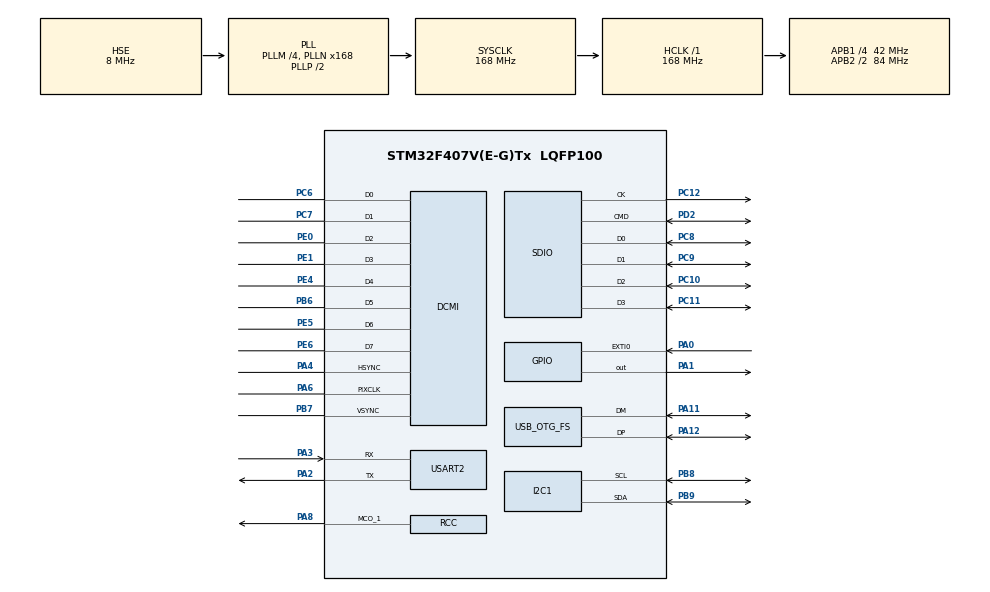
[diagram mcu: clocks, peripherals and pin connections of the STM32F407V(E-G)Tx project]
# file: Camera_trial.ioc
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DCMI.HSPolarity=DCMI_HSPOLARITY_LOW
DCMI.PCKPolarity=DCMI_PCKPOLARITY_RISING
DCMI.VSPolarity=DCMI_VSPOLARITY_HIGH
Dma.DCMI.0.Direction=DMA_PERIPH_TO_MEMORY
Dma.DCMI.0.FIFOMode=DMA_FIFOMODE_ENABLE
Dma.DCMI.0.FIFOThreshold=DMA_FIFO_THRESHOLD_FULL
Dma.DCMI.0.Instance=DMA2_Stream1
Dma.DCMI.0.MemBurst=DMA_MBURST_SINGLE
Dma.DCMI.0.MemDataAlignment=DMA_MDATAALIGN_WORD
Dma.DCMI.0.MemInc=DMA_MINC_ENABLE
Dma.DCMI.0.Mode=DMA_CIRCULAR
Dma.DCMI.0.PeriphBurst=DMA_PBURST_SINGLE
Dma.DCMI.0.PeriphDataAlignment=DMA_PDATAALIGN_WORD
Dma.DCMI.0.PeriphInc=DMA_PINC_DISABLE
Dma.DCMI.0.Priority=DMA_PRIORITY_VERY_HIGH
Dma.Request0=DCMI
Dma.Request1=SDIO_RX
Dma.Request2=SDIO_TX
Dma.SDIO_RX.1.Direction=DMA_PERIPH_TO_MEMORY
Dma.SDIO_RX.1.FIFOMode=DMA_FIFOMODE_ENABLE
Dma.SDIO_RX.1.FIFOThreshold=DMA_FIFO_THRESHOLD_FULL
Dma.SDIO_RX.1.Instance=DMA2_Stream3
Dma.SDIO_RX.1.MemBurst=DMA_MBURST_INC4
Dma.SDIO_RX.1.MemDataAlignment=DMA_MDATAALIGN_WORD
Dma.SDIO_RX.1.MemInc=DMA_MINC_ENABLE
Dma.SDIO_RX.1.Mode=DMA_PFCTRL
Dma.SDIO_RX.1.PeriphBurst=DMA_PBURST_INC4
Dma.SDIO_RX.1.PeriphDataAlignment=DMA_PDATAALIGN_WORD
Dma.SDIO_RX.1.PeriphInc=DMA_PINC_DISABLE
Dma.SDIO_RX.1.Priority=DMA_PRIORITY_VERY_HIGH
Dma.SDIO_TX.2.Direction=DMA_MEMORY_TO_PERIPH
Dma.SDIO_TX.2.FIFOMode=DMA_FIFOMODE_ENABLE
Dma.SDIO_TX.2.FIFOThreshold=DMA_FIFO_THRESHOLD_FULL
Dma.SDIO_TX.2.Instance=DMA2_Stream6
Dma.SDIO_TX.2.MemBurst=DMA_MBURST_INC4
Dma.SDIO_TX.2.MemDataAlignment=DMA_MDATAALIGN_WORD
Dma.SDIO_TX.2.MemInc=DMA_MINC_ENABLE
Dma.SDIO_TX.2.Mode=DMA_PFCTRL
Dma.SDIO_TX.2.PeriphBurst=DMA_PBURST_INC4
Dma.SDIO_TX.2.PeriphDataAlignment=DMA_PDATAALIGN_WORD
Dma.SDIO_TX.2.PeriphInc=DMA_PINC_DISABLE
Dma.SDIO_TX.2.Priority=DMA_PRIORITY_VERY_HIGH
FATFS._USE_CHMOD=1
FATFS._USE_EXPAND=1
FATFS._USE_FIND=1
FATFS._USE_FORWARD=1
FATFS._USE_LABEL=1
FREERTOS.INCLUDE_eTaskGetState=0
FREERTOS.INCLUDE_xEventGroupSetBitFromISR=1
FREERTOS.INCLUDE_xQueueGetMutexHolder=1
FREERTOS.INCLUDE_xSemaphoreGetMutexHolder=1
FREERTOS.INCLUDE_xTaskGetCurrentTaskHandle=1
FREERTOS.INCLUDE_xTimerPendFunctionCall=1
FREERTOS.Tasks01=defaultTask,0,128,StartDefaultTask,Default,NULL,Dynamic,NULL,NULL
FREERTOS.configENABLE_FPU=1
FREERTOS.configUSE_RECURSIVE_MUTEXES=1
FREERTOS.configUSE_TIMERS=1
Mcu.Family=STM32F4
Mcu.Name=STM32F407V(E-G)Tx
Mcu.Package=LQFP100
NVIC.DCMI_IRQn=true\:5\:0\:false\:false\:true\:true\:true\:true\:true
NVIC.DMA2_Stream1_IRQn=true\:5\:0\:false\:false\:true\:false\:false\:true\:true
NVIC.DMA2_Stream3_IRQn=true\:5\:0\:false\:false\:true\:true\:false\:true\:true
NVIC.DMA2_Stream6_IRQn=true\:5\:0\:false\:false\:true\:true\:false\:true\:true
NVIC.OTG_FS_IRQn=true\:5\:0\:false\:false\:true\:true\:false\:true\:true
NVIC.PriorityGroup=NVIC_PRIORITYGROUP_4
NVIC.SDIO_IRQn=true\:5\:0\:false\:false\:true\:true\:true\:true\:true
PA0-WKUP.Signal=GPXTI0
PA1.GPIO_ModeDefaultOutputPP=GPIO_MODE_OUTPUT_PP
PA1.GPIO_PuPd=GPIO_PULLDOWN
PA1.PinState=GPIO_PIN_RESET
PA1.Signal=GPIO_Output
PA11.Mode=Device_Only
PA11.Signal=USB_OTG_FS_DM
PA12.Mode=Device_Only
PA12.Signal=USB_OTG_FS_DP
PA2.Mode=Asynchronous
PA2.Signal=USART2_TX
PA3.Mode=Asynchronous
PA3.Signal=USART2_RX
PA4.GPIO_PuPd=GPIO_PULLUP
PA4.GPIO_Speed=GPIO_SPEED_FREQ_VERY_HIGH
PA4.Mode=Slave_8_bits_External_Synchro
PA4.Signal=DCMI_HSYNC
PA6.GPIO_PuPd=GPIO_PULLDOWN
PA6.GPIO_Speed=GPIO_SPEED_FREQ_VERY_HIGH
PA6.Mode=Slave_8_bits_External_Synchro
PA6.Signal=DCMI_PIXCLK
PA8.Mode=Clock-out-1
PA8.Signal=RCC_MCO_1
PB6.GPIO_PuPd=GPIO_PULLUP
PB6.GPIO_Speed=GPIO_SPEED_FREQ_VERY_HIGH
PB6.Mode=Slave_8_bits_External_Synchro
PB6.Signal=DCMI_D5
PB7.GPIO_PuPd=GPIO_PULLDOWN
PB7.GPIO_Speed=GPIO_SPEED_FREQ_VERY_HIGH
PB7.Mode=Slave_8_bits_External_Synchro
PB7.Signal=DCMI_VSYNC
PB8.GPIO_Pu=GPIO_PULLUP
PB8.Mode=I2C
PB8.Signal=I2C1_SCL
PB9.GPIO_Pu=GPIO_PULLUP
PB9.Mode=I2C
PB9.Signal=I2C1_SDA
PC10.GPIO_PuPd=GPIO_PULLUP
PC10.Mode=SD_4_bits_Wide_bus
PC10.Signal=SDIO_D2
PC11.GPIO_PuPd=GPIO_PULLUP
PC11.Mode=SD_4_bits_Wide_bus
PC11.Signal=SDIO_D3
PC12.Mode=SD_4_bits_Wide_bus
PC12.Signal=SDIO_CK
PC6.GPIO_PuPd=GPIO_PULLDOWN
PC6.GPIO_Speed=GPIO_SPEED_FREQ_VERY_HIGH
PC6.Mode=Slave_8_bits_External_Synchro
PC6.Signal=DCMI_D0
PC7.GPIO_PuPd=GPIO_PULLDOWN
PC7.GPIO_Speed=GPIO_SPEED_FREQ_VERY_HIGH
PC7.Mode=Slave_8_bits_External_Synchro
PC7.Signal=DCMI_D1
PC8.GPIO_PuPd=GPIO_PULLUP
PC8.Mode=SD_4_bits_Wide_bus
PC8.Signal=SDIO_D0
PC9.GPIO_PuPd=GPIO_PULLUP
PC9.Mode=SD_4_bits_Wide_bus
PC9.Signal=SDIO_D1
PD2.GPIO_PuPd=GPIO_PULLUP
PD2.Mode=SD_4_bits_Wide_bus
PD2.Signal=SDIO_CMD
PE0.GPIO_PuPd=GPIO_PULLDOWN
PE0.GPIO_Speed=GPIO_SPEED_FREQ_VERY_HIGH
PE0.Mode=Slave_8_bits_External_Synchro
PE0.Signal=DCMI_D2
PE1.GPIO_PuPd=GPIO_PULLDOWN
PE1.GPIO_Speed=GPIO_SPEED_FREQ_VERY_HIGH
PE1.Mode=Slave_8_bits_External_Synchro
PE1.Signal=DCMI_D3
PE4.GPIO_PuPd=GPIO_PULLDOWN
PE4.GPIO_Speed=GPIO_SPEED_FREQ_VERY_HIGH
PE4.Mode=Slave_8_bits_External_Synchro
PE4.Signal=DCMI_D4
PE5.GPIO_PuPd=GPIO_PULLDOWN
PE5.GPIO_Speed=GPIO_SPEED_FREQ_VERY_HIGH
PE5.Mode=Slave_8_bits_External_Synchro
PE5.Signal=DCMI_D6
PE6.GPIO_PuPd=GPIO_PULLDOWN
PE6.GPIO_Speed=GPIO_SPEED_FREQ_VERY_HIGH
PE6.Mode=Slave_8_bits_External_Synchro
PE6.Signal=DCMI_D7
PH0-OSC_IN.Mode=HSE-External-Oscillator
PH0-OSC_IN.Signal=RCC_OSC_IN
PH1-OSC_OUT.Mode=HSE-External-Oscillator
PH1-OSC_OUT.Signal=RCC_OSC_OUT
ProjectManager.HeapSize=0x200
ProjectManager.StackSize=0x400
ProjectManager.TargetToolchain=STM32CubeIDE
RCC.48MHZClocksFreq_Value=48000000
RCC.AHBFreq_Value=168000000
RCC.APB1CLKDivider=RCC_HCLK_DIV4
RCC.APB1Freq_Value=42000000
RCC.APB1TimFreq_Value=84000000
RCC.APB2CLKDivider=RCC_HCLK_DIV2
RCC.APB2Freq_Value=84000000
RCC.APB2TimFreq_Value=168000000
RCC.CortexFreq_Value=168000000
RCC.EnbaleCSS=true
RCC.HCLKFreq_Value=168000000
RCC.HSE_VALUE=8000000
RCC.HSI_VALUE=16000000
RCC.LSE_VALUE=32768
RCC.PLLM=4
RCC.PLLN=168
RCC.PLLQ=7
RCC.RCC_MCODiv2=RCC_MCODIV_4
RCC.SYSCLKFreq_VALUE=168000000
RCC.SYSCLKSource=RCC_SYSCLKSOURCE_PLLCLK
RCC.VCOOutputFreq_Value=336000000
USART2.VirtualMode=VM_ASYNC
USB_DEVICE.CLASS_NAME_FS=CDC
USB_DEVICE.VirtualMode-CDC_FS=Cdc
USB_DEVICE.VirtualModeFS=Cdc_FS
USB_OTG_FS.VirtualMode=Device_Only
VP_FATFS_VS_SDIO.Mode=SDIO
VP_FREERTOS_VS_CMSIS_V1.Mode=CMSIS_V1
VP_USB_DEVICE_VS_USB_DEVICE_CDC_FS.Mode=CDC_FS
board=custom

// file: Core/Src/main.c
/* USER CODE BEGIN Header */
/**
  ******************************************************************************
  * @file           : main.c
  * @brief          : Main program body
  ******************************************************************************
  * @attention
  *
  * Copyright (c) 2025 STMicroelectronics.
  * All rights reserved.
  *
  * This software is licensed under terms that can be found in the LICENSE file
  * in the root directory of this software component.
  * If no LICENSE file comes with this software, it is provided AS-IS.
  *
  ******************************************************************************
  */
/* USER CODE END Header */
#include "main.h"
#include "cmsis_os.h"
#include "fatfs.h"
#include "usb_device.h"

/* USER CODE BEGIN Includes */
#include <stdio.h> //  <-- ADDED FOR UART LOGGING
#include "stm32f4xx_hal_dma.h"

//#include "sd_diskio.h"
/* USER CODE END Includes */

/* USER CODE BEGIN PTD */
// -------- ADDED FOR UART LOGGING -------- //

// ----------------------------------------- //
/* USER CODE END PTD */

/* USER CODE BEGIN PD */

TaskHandle_t xFrameTaskHandle;
TaskHandle_t xUSBCommandTaskHandle;
TaskHandle_t hUsbStreamTask = NULL;
EventGroupHandle_t appEventGroup;
QueueHandle_t xFrameChunkQueue;
QueueHandle_t xUSBCommandQueue;
SemaphoreHandle_t xI2CSemaphore;
osMessageQId SDQueueID;
SemaphoreHandle_t sdCardMutex;

/* USER CODE END PD */

DCMI_HandleTypeDef hdcmi;
DMA_HandleTypeDef hdma_dcmi;

I2C_HandleTypeDef hi2c1;

SD_HandleTypeDef hsd;
DMA_HandleTypeDef hdma_sdio_rx;
DMA_HandleTypeDef hdma_sdio_tx;

UART_HandleTypeDef huart2;

osThreadId defaultTaskHandle;

void SystemClock_Config(void);
static void MX_GPIO_Init(void);
static void MX_DMA_Init(void);
static void MX_DCMI_Init(void);
static void MX_I2C1_Init(void);
static void MX_USART2_UART_Init(void);
static void MX_SDIO_SD_Init(void);
void StartDefaultTask(void const * argument);

/* USER CODE BEGIN PFP */
void MeM_to_SD(void *pvParameters);
void FrameProcessingTask(void *pvParameters);
bool OV7670_init(void);
void My_DMA_HalfTransfer_Callback(void);
void My_DMA_FullTransfer_Callback(void);
void USBStreamFromSDTask(void *argument);
/* USER CODE END PFP */

/* USER CODE BEGIN 0 */

void FrameProcessTask(void *parameters)
{
    uint32_t ulNotificationValue;
    const uint16_t chunk_size = 64; // USB FS MPS
    uint32_t ptr = 0;
    for (;;)
    {
        // Wait for notification (blocks indefinitely)
        xTaskNotifyWait(0x00,    // Don't clear any bits on entry
                        0xFFFFFFFF, // Clear all bits on exit
                        &ulNotificationValue,
                        portMAX_DELAY);

        if (ulNotificationValue & 0x01)
        {
            // Half-frame ready

        	//printf("Half-frame ready\r\n");
        	//printf("DCMI DMA NDTR: %lu\r\n", (uint32_t)(hdma_dcmi.Instance->NDTR));
            // Process &frame_buffer[0]
        }
        else if (ulNotificationValue & 0x02)
        {
            // Full-frame ready
        	//printf("DCMI DMA NDTR: %lu\r\n", (uint32_t)(hdma_dcmi.Instance->NDTR));
            //printf("Full-frame ready\r\n");
        	//USBFrameSendTask();
            // Process &frame_buffer[IMG_SIZE/2]
        }
    }
}
void DWT_Init(void)
{
    // Enable the trace system (needed for DWT)
    CoreDebug->DEMCR |= CoreDebug_DEMCR_TRCENA_Msk;

    // Reset the cycle counter
    DWT->CYCCNT = 0;

    // Enable the cycle counter
    DWT->CTRL |= DWT_CTRL_CYCCNTENA_Msk;
}

// Make the RTOS queue handle visible to your task file.
// The type is likely osMessageQueueId_t if generated by CubeMX with CMSIS v2.

// It's safer to declare large buffers as static to prevent stack overflow.

/* USER CODE END 0 */

int main(void)
{

  /* MCU Configuration--------------------------------------------------------*/

  /* Reset of all peripherals, Initializes the Flash interface and the Systick. */
  HAL_Init();

  /* USER CODE BEGIN Init */
  DWT_Init();
  /* USER CODE END Init */

  /* Configure the system clock */
  SystemClock_Config();

  /* Initialize all configured peripherals */
  MX_GPIO_Init();
  MX_DMA_Init();
  MX_DCMI_Init();
  MX_I2C1_Init();
  MX_USART2_UART_Init();
  MX_SDIO_SD_Init();
  MX_FATFS_Init();
  /* USER CODE BEGIN 2 */
  MX_USB_DEVICE_Init();

  /*printf("\n\n\n\n--------\nStarting\r\n");

  printf("SD Card Information:\r\n");
  printf("Block size  : %lu\r\n", hsd.SdCard.BlockSize);
  printf("Block nmbr  : %lu\r\n", hsd.SdCard.BlockNbr);
  printf("Card size   : %lu\r\n", (hsd.SdCard.BlockSize * hsd.SdCard.BlockNbr) / 1000);
  printf("Card version: %lu\r\n", hsd.SdCard.CardVersion);

  printf("\r\n--- UART Test Only ---\r\n");
  printf("Clock, GPIO, and UART Initialized.\r\n");

*/
  appEventGroup = xEventGroupCreate();
  xFrameChunkQueue = xQueueCreate( (490), sizeof(DCMI_Message_t) );
  sdCardMutex = xSemaphoreCreateMutex();
  //xUSBCommandQueue = xQueueCreate(10, sizeof(USBCommand)); // Defined in usb_cdc_handler
  xI2CSemaphore = xSemaphoreCreateMutex();

  if(appEventGroup && xFrameChunkQueue && xI2CSemaphore && sdCardMutex) {
      printf("RTOS objects created successfully.\r\n");
  } else {
      printf("Error: Failed to create RTOS objects!\r\n");
      Error_Handler();
  }
	  if (HAL_I2C_IsDeviceReady(&hi2c1, OV7670_I2C_ADDR <<1, 3, 100) == HAL_OK) {
		  printf("OV7670 detected\r\n");
	  } else {
		  printf("OV7670 not found\r\n");
	  }

    // --- Initialize camera ---
	//Test_OV7670_I2C_Communication();

    printf("Initializing OV7670 cameraaaa...\r\n");
    bool error = OV7670_init();

    if(!error) {
      printf("OV7670 Camera Initialized Successfully.\r\n");
  	  //xEventGroupSetBits(xSystemEvents, CAMERA_READY);
        // NEW: Start DCMI DMA in circular mode. This happens only once.
        // The length is the total number of pixels, as DMA is configured for Half Word memory transfers.
  	//HAL_DCMI_RegisterCallback(&hdcmi,HAL_DCMI_FRAME_EVENT_CB_ID,My_DMA_HalfTransfer_Callback);
  	hdcmi.DMA_Handle->XferHalfCpltCallback = My_DMA_HalfTransfer_Callback;
  	//hdcmi.DMA_Handle->XferCpltCallback = My_DMA_FullTransfer_Callback;
  	//DCMI_Start_Capture();
        printf("DCMI DMA started in continuous mode.\r\n");
    } else {
        printf("Error: OV7670 Camera Failed to Initialize!\r\n");
        Error_Handler(); // Camera failed
    }
    //sd_raw_test();
    // --- Create tasks ---
    printf("Creating RTOS tasks...\r\n");

    // REMOVED: CameraTask is no longer needed with DMA circular mode.
    //xTaskCreate(USBFrameSendTask, "USB Frame TX", 512, NULL, 2, NULL);
    xTaskCreate(FrameProcessTask, "FrameProcess", 1024, NULL, 1, &xFrameTaskHandle);
    xTaskCreate(MeM_to_SD,"MeM_to_SD",1024,NULL,2,&xSDTaskHandle);
    xTaskCreate(USBStreamFromSDTask, "USBStreamTask", 1024, NULL, 1, &hUsbStreamTask);
    //xTaskCreate(sd_raw_test, "SDTest", 2048, NULL, tskIDLE_PRIORITY + 2, &xSDTaskHandle);
    // Default task for USB is created by CubeMX, we don't need to add it again.
    printf("Tasks created.\r\n");

  /* USER CODE END 2 */

  /* Create the thread(s) */
  /* definition and creation of defaultTask */
  osThreadDef(defaultTask, StartDefaultTask, osPriorityNormal, 0, 128);
  defaultTaskHandle = osThreadCreate(osThread(defaultTask), NULL);

  /* Start scheduler */
  osKernelStart();

  /* We should never get here as control is now taken by the scheduler */

  /* Infinite loop */
  while (1)
  {

  }
}

void SystemClock_Config(void)
{
  RCC_OscInitTypeDef RCC_OscInitStruct = {0};
  RCC_ClkInitTypeDef RCC_ClkInitStruct = {0};

  /** Configure the main internal regulator output voltage
  */
  __HAL_RCC_PWR_CLK_ENABLE();
  __HAL_PWR_VOLTAGESCALING_CONFIG(PWR_REGULATOR_VOLTAGE_SCALE1);

  /** Initializes the RCC Oscillators according to the specified parameters
  * in the RCC_OscInitTypeDef structure.
  */
  RCC_OscInitStruct.OscillatorType = RCC_OSCILLATORTYPE_HSI|RCC_OSCILLATORTYPE_HSE;
  RCC_OscInitStruct.HSEState = RCC_HSE_ON;
  RCC_OscInitStruct.HSIState = RCC_HSI_ON;
  RCC_OscInitStruct.HSICalibrationValue = RCC_HSICALIBRATION_DEFAULT;
  RCC_OscInitStruct.PLL.PLLState = RCC_PLL_ON;
  RCC_OscInitStruct.PLL.PLLSource = RCC_PLLSOURCE_HSE;
  RCC_OscInitStruct.PLL.PLLM = 4;
  RCC_OscInitStruct.PLL.PLLN = 168;
  RCC_OscInitStruct.PLL.PLLP = RCC_PLLP_DIV2;
  RCC_OscInitStruct.PLL.PLLQ = 7;
  if (HAL_RCC_OscConfig(&RCC_OscInitStruct) != HAL_OK)
  {
    Error_Handler();
  }

  /** Initializes the CPU, AHB and APB buses clocks
  */
  RCC_ClkInitStruct.ClockType = RCC_CLOCKTYPE_HCLK|RCC_CLOCKTYPE_SYSCLK
                              |RCC_CLOCKTYPE_PCLK1|RCC_CLOCKTYPE_PCLK2;
  RCC_ClkInitStruct.SYSCLKSource = RCC_SYSCLKSOURCE_PLLCLK;
  RCC_ClkInitStruct.AHBCLKDivider = RCC_SYSCLK_DIV1;
  RCC_ClkInitStruct.APB1CLKDivider = RCC_HCLK_DIV4;
  RCC_ClkInitStruct.APB2CLKDivider = RCC_HCLK_DIV2;

  if (HAL_RCC_ClockConfig(&RCC_ClkInitStruct, FLASH_LATENCY_5) != HAL_OK)
  {
    Error_Handler();
  }
  HAL_RCC_MCOConfig(RCC_MCO1, RCC_MCO1SOURCE_HSI, RCC_MCODIV_1);

  /** Enables the Clock Security System
  */
  HAL_RCC_EnableCSS();
}

static void MX_DCMI_Init(void)
{

  hdcmi.Instance = DCMI;
  hdcmi.Init.SynchroMode = DCMI_SYNCHRO_HARDWARE;
  hdcmi.Init.PCKPolarity = DCMI_PCKPOLARITY_RISING;
  hdcmi.Init.VSPolarity = DCMI_VSPOLARITY_HIGH;
  hdcmi.Init.HSPolarity = DCMI_HSPOLARITY_LOW;
  hdcmi.Init.CaptureRate = DCMI_CR_ALL_FRAME;
  hdcmi.Init.ExtendedDataMode = DCMI_EXTEND_DATA_8B;
  hdcmi.Init.JPEGMode = DCMI_JPEG_DISABLE;
  if (HAL_DCMI_Init(&hdcmi) != HAL_OK)
  {
    Error_Handler();
  }
  /* USER CODE BEGIN DCMI_Init 2 */
  if (HAL_DCMI_ConfigCROP(&hdcmi, 0, 0, IMG_COLUMNS*2, IMG_ROWS) != HAL_OK)
  {
      Error_Handler();
  }
  //HAL_DCMI_EnableCROP(&hdcmi);
  /* USER CODE END DCMI_Init 2 */

}

static void MX_I2C1_Init(void)
{

  hi2c1.Instance = I2C1;
  hi2c1.Init.ClockSpeed = 100000;
  hi2c1.Init.DutyCycle = I2C_DUTYCYCLE_2;
  hi2c1.Init.OwnAddress1 = 0;
  hi2c1.Init.AddressingMode = I2C_ADDRESSINGMODE_7BIT;
  hi2c1.Init.DualAddressMode = I2C_DUALADDRESS_DISABLE;
  hi2c1.Init.OwnAddress2 = 0;
  hi2c1.Init.GeneralCallMode = I2C_GENERALCALL_DISABLE;
  hi2c1.Init.NoStretchMode = I2C_NOSTRETCH_DISABLE;
  if (HAL_I2C_Init(&hi2c1) != HAL_OK)
  {
    Error_Handler();
  }

}

static void MX_SDIO_SD_Init(void)
{

  hsd.Instance = SDIO;
  hsd.Init.ClockEdge = SDIO_CLOCK_EDGE_RISING;
  hsd.Init.ClockBypass = SDIO_CLOCK_BYPASS_DISABLE;
  hsd.Init.ClockPowerSave = SDIO_CLOCK_POWER_SAVE_DISABLE;
  hsd.Init.BusWide = SDIO_BUS_WIDE_4B;
  hsd.Init.HardwareFlowControl = SDIO_HARDWARE_FLOW_CONTROL_DISABLE;
  hsd.Init.ClockDiv = 0;
  /* USER CODE BEGIN SDIO_Init 2 */
  hsd.Init.BusWide = SDIO_BUS_WIDE_1B;
  if (HAL_SD_Init(&hsd) != HAL_OK) {
      Error_Handler();
  }

  // Now we can switch to 4 bit mode
 if (HAL_SD_ConfigWideBusOperation(&hsd, SDIO_BUS_WIDE_4B) != HAL_OK) {
      Error_Handler();
 }

  /* USER CODE END SDIO_Init 2 */

}

static void MX_USART2_UART_Init(void)
{

  huart2.Instance = USART2;
  huart2.Init.BaudRate = 115200;
  huart2.Init.WordLength = UART_WORDLENGTH_8B;
  huart2.Init.StopBits = UART_STOPBITS_1;
  huart2.Init.Parity = UART_PARITY_NONE;
  huart2.Init.Mode = UART_MODE_TX_RX;
  huart2.Init.HwFlowCtl = UART_HWCONTROL_NONE;
  huart2.Init.OverSampling = UART_OVERSAMPLING_16;
  if (HAL_UART_Init(&huart2) != HAL_OK)
  {
    Error_Handler();
  }

}

static void MX_DMA_Init(void)
{

  /* DMA controller clock enable */
  __HAL_RCC_DMA2_CLK_ENABLE();

  /* DMA interrupt init */
  /* DMA2_Stream1_IRQn interrupt configuration */
  HAL_NVIC_SetPriority(DMA2_Stream1_IRQn, 5, 0);
  HAL_NVIC_EnableIRQ(DMA2_Stream1_IRQn);
  /* DMA2_Stream3_IRQn interrupt configuration */
  HAL_NVIC_SetPriority(DMA2_Stream3_IRQn, 5, 0);
  HAL_NVIC_EnableIRQ(DMA2_Stream3_IRQn);
  /* DMA2_Stream6_IRQn interrupt configuration */
  HAL_NVIC_SetPriority(DMA2_Stream6_IRQn, 5, 0);
  HAL_NVIC_EnableIRQ(DMA2_Stream6_IRQn);

}

static void MX_GPIO_Init(void)
{
  GPIO_InitTypeDef GPIO_InitStruct = {0};

  /* GPIO Ports Clock Enable */
  __HAL_RCC_GPIOE_CLK_ENABLE();
  __HAL_RCC_GPIOH_CLK_ENABLE();
  __HAL_RCC_GPIOA_CLK_ENABLE();
  __HAL_RCC_GPIOC_CLK_ENABLE();
  __HAL_RCC_GPIOD_CLK_ENABLE();
  __HAL_RCC_GPIOB_CLK_ENABLE();

  /*Configure GPIO pin Output Level */
  HAL_GPIO_WritePin(GPIOA, GPIO_PIN_1, GPIO_PIN_RESET);

  /*Configure GPIO pin : PA0 */
  GPIO_InitStruct.Pin = GPIO_PIN_0;
  GPIO_InitStruct.Mode = GPIO_MODE_IT_RISING;
  GPIO_InitStruct.Pull = GPIO_NOPULL;
  HAL_GPIO_Init(GPIOA, &GPIO_InitStruct);

  /*Configure GPIO pin : PA1 */
  GPIO_InitStruct.Pin = GPIO_PIN_1;
  GPIO_InitStruct.Mode = GPIO_MODE_OUTPUT_PP;
  GPIO_InitStruct.Pull = GPIO_PULLDOWN;
  GPIO_InitStruct.Speed = GPIO_SPEED_FREQ_LOW;
  HAL_GPIO_Init(GPIOA, &GPIO_InitStruct);

  /*Configure GPIO pin : PA8 */
  GPIO_InitStruct.Pin = GPIO_PIN_8;
  GPIO_InitStruct.Mode = GPIO_MODE_AF_PP;
  GPIO_InitStruct.Pull = GPIO_NOPULL;
  GPIO_InitStruct.Speed = GPIO_SPEED_FREQ_LOW;
  GPIO_InitStruct.Alternate = GPIO_AF0_MCO;
  HAL_GPIO_Init(GPIOA, &GPIO_InitStruct);

  /* USER CODE BEGIN MX_GPIO_Init_2 */
  HAL_NVIC_SetPriority(EXTI0_IRQn, 5, 0);
  HAL_NVIC_EnableIRQ(EXTI0_IRQn);

  // NOTE: UART GPIO init is handled by HAL_UART_MspInit in stm32f4xx_hal_msp.c
  /* USER CODE END MX_GPIO_Init_2 */
}

/* USER CODE BEGIN 4 */

void EXTI0_IRQHandler(void)
{
  // This HAL function will clear the interrupt flag and call the user callback below
  HAL_GPIO_EXTI_IRQHandler(GPIO_PIN_0);
}

/*void HAL_GPIO_EXTI_Callback(uint16_t GPIO_Pin)
{
    // Make sure it's the correct pin that triggered the interrupt
    if (GPIO_Pin == GPIO_PIN_0) // Or your camera's VSYNC pin
    {
        // Only start a new capture if the DCMI is in the READY state.
        // This prevents trying to start a capture while another is in progress.
        if (hdcmi.State == HAL_DCMI_STATE_READY)
        {
            uint32_t transfer_length_in_words = (IMG_ROWS * IMG_COLUMNS)/2;
            // Start the DMA transfer. This is a non-blocking call.
            // The function will return immediately.
            if (HAL_DCMI_Start_DMA(&hdcmi, DCMI_MODE_SNAPSHOT,frame_buffer, transfer_length_in_words) != HAL_OK)
            {
                // If starting fails, handle the error.
                Error_Handler();
            }
        }
    }

}*/

void HAL_GPIO_EXTI_Callback(uint16_t GPIO_Pin)
{
    // Make sure it's the correct pin that triggered the interrupt
    if (GPIO_Pin == GPIO_PIN_0) // Or your camera's VSYNC pin
    {
    	BaseType_t xHigherPriorityTaskWoken = pdFALSE;
    	xEventGroupSetBitsFromISR(appEventGroup,EVENT_BIT_BUTTON_PRESSED, &xHigherPriorityTaskWoken);
    	portYIELD_FROM_ISR(xHigherPriorityTaskWoken);
    }

}
/* USER CODE END 4 */

void StartDefaultTask(void const * argument)
{
  /* init code for USB_DEVICE */
  MX_USB_DEVICE_Init();
  /* USER CODE BEGIN 5 */
  /* Infinite loop */
  for(;;){
	 //printf("DCMI DMA NDTR: %lu\r\n", (uint32_t)(hdma_dcmi.Instance->NDTR));
	vTaskDelay(pdMS_TO_TICKS(1000));
    osDelay(1);
  }
  /* USER CODE END 5 */
}

void Error_Handler(void)
{
  /* USER CODE BEGIN Error_Handler_Debug */
  /* User can add his own implementation to report the HAL error return state */
  printf("\r\n!!! SYSTEM ERROR !!!\r\nEntering Error_Handler...\r\n");
  __disable_irq();
  while (1)
  {
  }
  /* USER CODE END Error_Handler_Debug */
}
